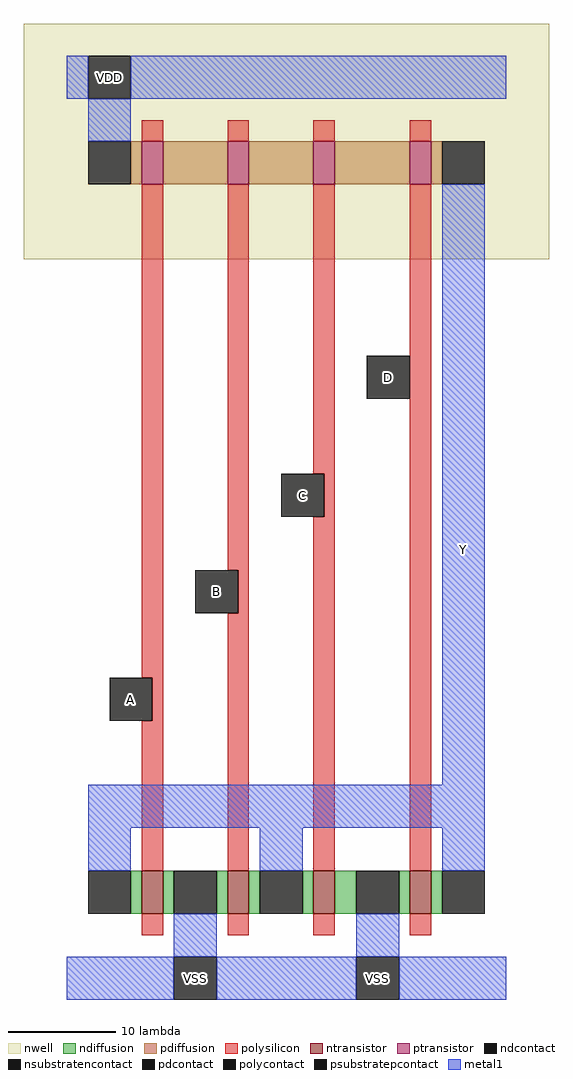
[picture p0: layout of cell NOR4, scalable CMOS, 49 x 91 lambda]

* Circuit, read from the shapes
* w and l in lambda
.subckt NOR4 A B C D VDD VSS Y
M1 VSS A Y VSS nfet w=4 l=2
M2 Y B VSS VSS nfet w=4 l=2
M3 VSS C Y VSS nfet w=4 l=2
M4 Y D VSS VSS nfet w=4 l=2
M5 n1 A VDD VDD pfet w=4 l=2
M6 n2 B n1 VDD pfet w=4 l=2
M7 n3 C n2 VDD pfet w=4 l=2
M8 Y D n3 VDD pfet w=4 l=2
.ends

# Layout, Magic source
magic
tech scmos
<< nwell >>
rect -4 69 45 91
<< ntransistor >>
rect 7 8 9 12
rect 15 8 17 12
rect 23 8 25 12
rect 32 8 34 12
<< ptransistor >>
rect 7 76 9 80
rect 15 76 17 80
rect 23 76 25 80
rect 32 76 34 80
<< ndiffusion >>
rect 6 8 7 12
rect 9 8 10 12
rect 14 8 15 12
rect 17 8 18 12
rect 22 8 23 12
rect 25 8 27 12
rect 31 8 32 12
rect 34 8 35 12
<< pdiffusion >>
rect 6 76 7 80
rect 9 76 15 80
rect 17 76 23 80
rect 25 76 32 80
rect 34 76 35 80
<< ndcontact >>
rect 2 8 6 12
rect 10 8 14 12
rect 18 8 22 12
rect 27 8 31 12
rect 35 8 39 12
<< pdcontact >>
rect 2 76 6 80
rect 35 76 39 80
<< psubstratepcontact >>
rect 10 0 14 4
rect 27 0 31 4
<< nsubstratencontact >>
rect 2 84 6 88
<< polysilicon >>
rect 7 80 9 82
rect 15 80 17 82
rect 23 80 25 82
rect 32 80 34 82
rect 7 30 9 76
rect 15 40 17 76
rect 23 49 25 76
rect 24 45 25 49
rect 16 36 17 40
rect 8 26 9 30
rect 7 12 9 26
rect 15 12 17 36
rect 23 12 25 45
rect 32 12 34 76
rect 7 6 9 8
rect 15 6 17 8
rect 23 6 25 8
rect 32 6 34 8
<< polycontact >>
rect 28 56 32 60
rect 20 45 24 49
rect 12 36 16 40
rect 4 26 8 30
<< metal1 >>
rect 0 84 2 88
rect 6 84 41 88
rect 2 80 6 84
rect 35 20 39 76
rect 2 16 39 20
rect 2 12 6 16
rect 18 12 22 16
rect 35 12 39 16
rect 10 4 14 8
rect 27 4 31 8
rect 0 0 10 4
rect 14 0 27 4
rect 31 0 41 4
<< labels >>
rlabel psubstratepcontact 12 2 12 2 1 VSS
rlabel psubstratepcontact 29 2 29 2 1 VSS
rlabel polycontact 6 28 6 28 1 A
rlabel polycontact 14 38 14 38 1 B
rlabel polycontact 22 47 22 47 1 C
rlabel polycontact 30 58 30 58 1 D
rlabel metal1 37 42 37 42 1 Y
rlabel nsubstratencontact 4 86 4 86 1 VDD
<< end >>
